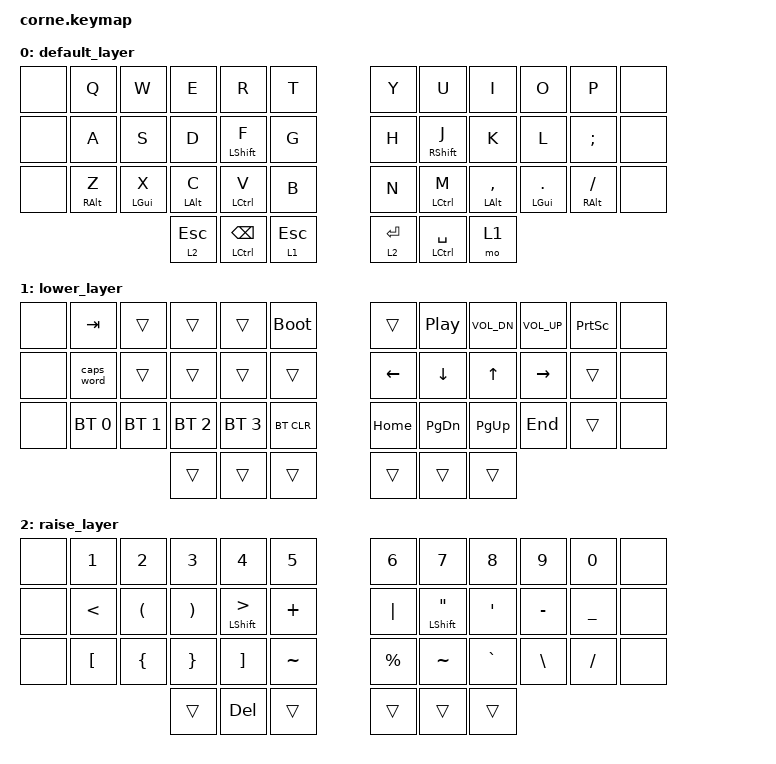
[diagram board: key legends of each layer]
/*
 * Copyright (c) 2020 The ZMK Contributors
 *
 * SPDX-License-Identifier: MIT
 */

#include <behaviors.dtsi>
#include <dt-bindings/zmk/bt.h>
#include <dt-bindings/zmk/keys.h>

/ {
    behaviors {
        hm: homerow_mods {
            compatible = "zmk,behavior-hold-tap";
            #binding-cells = <2>;
            tapping-term-ms = <200>;
            quick-tap-ms = <200>;
            require-prior-idle-ms = <100>;
            flavor = "tap-preferred";
            bindings = <&kp>, <&kp>;
        };
    };

    keymap {
        compatible = "zmk,keymap";

        default_layer {
            // -----------------------------------------------------------------------------------------
            // |  TAB |  Q  |  W  |  E  |  R  |  T  |   |  Y  |  U   |  I  |  O  |  P  | BKSP |
            // | CTRL |  A  |  S  |  D  |  F  |  G  |   |  H  |  J   |  K  |  L  |  ;  |  '   |
            // | SHFT |  Z  |  X  |  C  |  V  |  B  |   |  N  |  M   |  ,  |  .  |  /  | ESC  |
            //                    | GUI | LWR | SPC |   | ENT | RSE  | ALT |

            bindings = <
&none  &kp Q       &kp W       &kp E       &kp R           &kp T        &kp Y        &kp U            &kp I           &kp O         &kp P          &none
&none  &kp A       &kp S       &kp D       &hm LSHIFT F    &kp G        &kp H        &hm RSHIFT J     &kp K           &kp L         &kp SEMI       &none
&none  &hm RALT Z  &hm LGUI X  &hm LALT C  &hm LCTRL V     &kp B        &kp N        &hm LCTRL M      &hm LALT COMMA  &hm LGUI DOT  &hm RALT FSLH  &none
                               &lt 2 ESC   &hm LCTRL BSPC  &lt 1 ESC    &lt 2 ENTER  &hm LCTRL SPACE  &mo 1
            >;
        };

        lower_layer {
            // -----------------------------------------------------------------------------------------
            // |  TAB |  1  |  2  |  3  |  4  |  5  |   |  6  |  7  |  8  |  9  |  0  | BKSP |
            // | BTCLR| BT1 | BT2 | BT3 | BT4 | BT5 |   | LFT | DWN |  UP | RGT |     |      |
            // | SHFT |     |     |     |     |     |   |     |     |     |     |     |      |
            //                    | GUI |     | SPC |   | ENT |     | ALT |

            bindings = <
&none  &kp TAB       &trans        &trans        &trans        &bootloader    &trans    &kp C_PP       &kp C_VOL_DN  &kp C_VOLUME_UP  &kp PRINTSCREEN  &none
&none  &caps_word    &trans        &trans        &trans        &trans         &kp LEFT  &kp DOWN       &kp UP        &kp RIGHT        &trans           &none
&none  &bt BT_SEL 0  &bt BT_SEL 1  &bt BT_SEL 2  &bt BT_SEL 3  &bt BT_CLR     &kp HOME  &kp PAGE_DOWN  &kp PAGE_UP   &kp END          &trans           &none
                                   &trans        &trans        &trans         &trans    &trans         &trans
            >;
        };

        raise_layer {
            // -----------------------------------------------------------------------------------------
            // |  TAB |  !  |  @  |  #  |  $  |  %  |   |  ^  |  &  |  *  |  (  |  )  | BKSP |
            // | CTRL |     |     |     |     |     |   |  -  |  =  |  [  |  ]  |  \  |  `   |
            // | SHFT |     |     |     |     |     |   |  _  |  +  |  {  |  }  | "|" |  ~   |
            //                    | GUI |     | SPC |   | ENT |     | ALT |

            bindings = <
&none  &kp NUMBER_1      &kp NUMBER_2          &kp NUMBER_3           &kp NUMBER_4             &kp N5       &kp NUMBER_6  &kp N7                    &kp N8            &kp N9         &kp N0     &none
&none  &kp LESS_THAN     &kp LEFT_PARENTHESIS  &kp RIGHT_PARENTHESIS  &hm LSHIFT GREATER_THAN  &kp PLUS     &kp PIPE      &hm LSHIFT DOUBLE_QUOTES  &kp SINGLE_QUOTE  &kp MINUS      &kp UNDER  &none
&none  &kp LEFT_BRACKET  &kp LEFT_BRACE        &kp RIGHT_BRACE        &kp RIGHT_BRACKET        &kp TILDE    &kp PERCENT   &kp TILDE                 &kp GRAVE         &kp BACKSLASH  &kp SLASH  &none
                                               &trans                 &kp DELETE               &trans       &trans        &trans                    &trans
            >;
        };
    };
};
